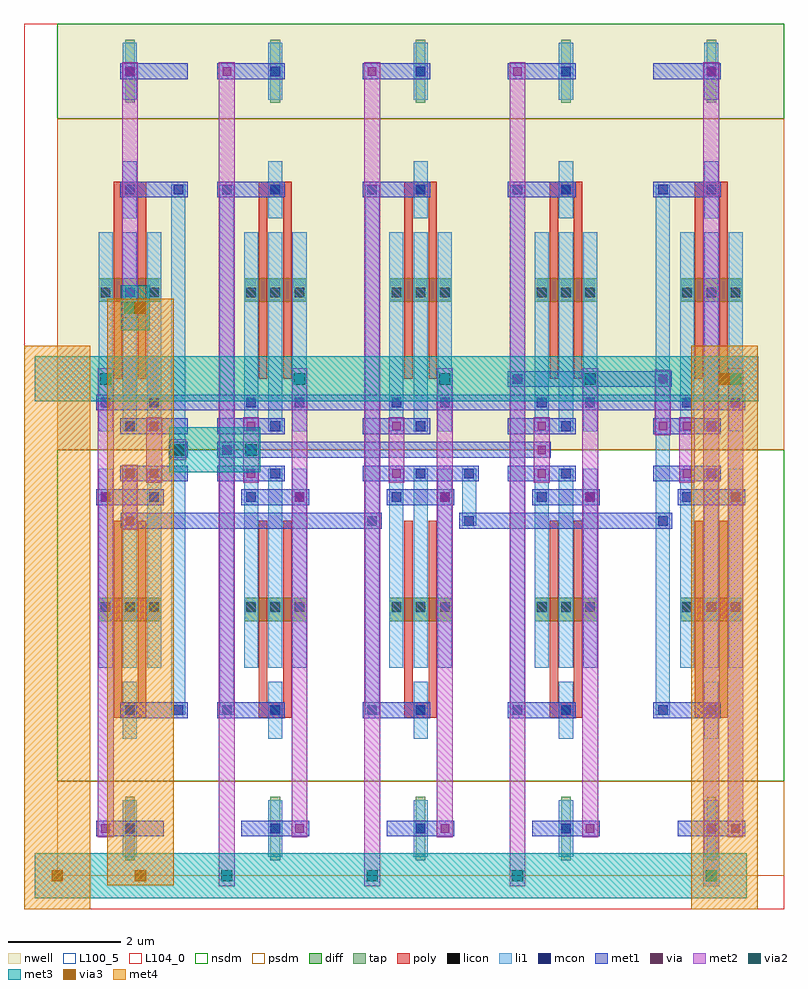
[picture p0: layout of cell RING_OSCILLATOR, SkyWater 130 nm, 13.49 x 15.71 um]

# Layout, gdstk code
import gdstk
lib = gdstk.Library(unit=1e-6, precision=1e-09)
def R(c, l, rs):  # rectangles x0, y0, x1, y1
    for r in rs: c.add(gdstk.rectangle(r[:2], r[2:], *l))
def A(c, l, x, y, w, h, nx, ny, dx, dy):  # array of equal rectangles
    R(c, l, [(x+i*dx, y+j*dy, x+i*dx+w, y+j*dy+h) for i in range(nx) for j in range(ny)])
nwell = (64, 20)
diff = (65, 20)
tap = (65, 44)
poly = (66, 20)
licon = (66, 44)
li1 = (67, 20)
mcon = (67, 44)
met1 = (68, 20)
via = (68, 44)
met2 = (69, 20)
via2 = (69, 44)
met3 = (70, 20)
via3 = (70, 44)
met4 = (71, 20)
nsdm = (93, 44)
psdm = (94, 20)
L100_5 = (100, 5)
L104_0 = (104, 0)

ring_oscillator = lib.new_cell('RING_OSCILLATOR')
A(ring_oscillator, nwell, 0, 7.56, 2.58, 7.56, 5, 1, 2.58, 0)
A(ring_oscillator, diff, 0.735, 4.515, 1.11, 0.42, 5, 2, 2.58, 5.67)
A(ring_oscillator, tap, 1.205, 0.28, 0.17, 1.12, 5, 2, 2.58, 13.44)
A(ring_oscillator, poly, 1, 2.805, 0.58, 0.27, 5, 2, 2.58, 9.24)
R(ring_oscillator, poly, [(1,2.94,1.15,6.3), (1.43,2.94,1.58,6.3), (3.58,2.94,3.73,6.3), (4.01,2.94,4.16,6.3), (6.16,2.94,6.31,6.3), (6.59,2.94,6.74,6.3), (8.74,2.94,8.89,6.3), (9.17,2.94,9.32,6.3), (11.32,2.94,11.47,6.3), (11.75,2.94,11.9,6.3), (1,8.82,1.15,12.18), (1.43,8.82,1.58,12.18), (3.58,8.82,3.73,12.18), (4.01,8.82,4.16,12.18), (6.16,8.82,6.31,12.18), (6.59,8.82,6.74,12.18), (8.74,8.82,8.89,12.18), (9.17,8.82,9.32,12.18), (11.32,8.82,11.47,12.18), (11.75,8.82,11.9,12.18)])
A(ring_oscillator, licon, 1.205, 0.755, 0.17, 0.17, 5, 2, 2.58, 2.1)
A(ring_oscillator, licon, 0.775, 4.685, 0.17, 0.17, 3, 2, 0.43, 5.58)
A(ring_oscillator, licon, 3.355, 4.685, 0.17, 0.17, 3, 2, 0.43, 5.58)
A(ring_oscillator, licon, 5.935, 4.685, 0.17, 0.17, 3, 2, 0.43, 5.58)
A(ring_oscillator, licon, 8.515, 4.685, 0.17, 0.17, 3, 2, 0.43, 5.58)
A(ring_oscillator, licon, 11.095, 4.685, 0.17, 0.17, 3, 2, 0.43, 5.58)
A(ring_oscillator, licon, 1.205, 12.095, 0.17, 0.17, 5, 2, 2.58, 2.1)
A(ring_oscillator, li1, 1.165, 0.335, 0.25, 1.01, 5, 2, 2.58, 2.1)
A(ring_oscillator, li1, 2.885, 2.855, 0.25, 9.41, 4, 1, 2.58, 0)
A(ring_oscillator, li1, 0.735, 3.695, 0.25, 3.53, 3, 2, 0.43, 4.2)
A(ring_oscillator, li1, 3.315, 3.695, 0.25, 3.53, 3, 2, 0.43, 4.2)
A(ring_oscillator, li1, 5.895, 3.695, 0.25, 3.53, 3, 2, 0.43, 4.2)
A(ring_oscillator, li1, 8.475, 3.695, 0.25, 3.53, 3, 2, 0.43, 4.2)
A(ring_oscillator, li1, 11.055, 3.695, 0.25, 3.53, 3, 2, 0.43, 4.2)
A(ring_oscillator, li1, 1.165, 11.675, 0.25, 1.01, 5, 2, 2.58, 2.1)
R(ring_oscillator, li1, [(2.025,2.855,2.275,12.265), (7.185,6.215,7.435,7.225)])
A(ring_oscillator, mcon, 1.205, 0.755, 0.17, 0.17, 5, 2, 2.58, 7.14)
A(ring_oscillator, mcon, 1.205, 2.855, 0.17, 0.17, 4, 2, 0.86, 9.24)
A(ring_oscillator, mcon, 1.205, 7.055, 0.17, 0.17, 3, 1, 2.58, 0)
A(ring_oscillator, mcon, 1.205, 14.195, 0.17, 0.17, 5, 1, 2.58, 0)
R(ring_oscillator, mcon, [(5.505,2.855,5.675,3.025), (6.365,2.855,6.535,3.025), (8.085,2.855,8.255,3.025), (8.945,2.855,9.115,3.025), (10.665,2.855,10.835,3.025), (11.525,2.855,11.695,3.025), (5.505,6.215,5.675,6.385), (7.225,6.215,7.395,6.385), (10.665,6.215,10.835,6.385), (0.775,6.635,0.945,6.805), (1.635,6.635,1.805,6.805), (3.355,6.635,3.525,6.805), (4.215,6.635,4.385,6.805), (5.935,6.635,6.105,6.805), (6.795,6.635,6.965,6.805), (8.515,6.635,8.685,6.805), (9.375,6.635,9.545,6.805), (11.095,6.635,11.265,6.805), (11.955,6.635,12.125,6.805), (7.225,7.055,7.395,7.225), (8.945,7.055,9.115,7.225), (11.525,7.055,11.695,7.225), (2.065,7.475,2.235,7.645), (2.925,7.475,3.095,7.645), (0.775,8.315,0.945,8.485), (1.635,8.315,1.805,8.485), (3.355,8.315,3.525,8.485), (4.215,8.315,4.385,8.485), (5.935,8.315,6.105,8.485), (6.795,8.315,6.965,8.485), (8.515,8.315,8.685,8.485), (9.375,8.315,9.545,8.485), (11.095,8.315,11.265,8.485), (11.955,8.315,12.125,8.485), (8.085,8.735,8.255,8.905), (5.505,12.095,5.675,12.265), (6.365,12.095,6.535,12.265), (8.085,12.095,8.255,12.265), (8.945,12.095,9.115,12.265), (10.665,12.095,10.835,12.265), (11.525,12.095,11.695,12.265)])
A(ring_oscillator, met1, 0.69, 0.7, 1.2, 0.28, 5, 2, 2.58, 5.88)
A(ring_oscillator, met1, 2.84, 2.8, 1.2, 0.28, 4, 2, 2.58, 5.04)
A(ring_oscillator, met1, 2.84, 12.04, 1.2, 0.28, 4, 2, 2.58, 2.1)
R(ring_oscillator, met1, [(1.12,2.8,2.32,3.08), (1.13,6.16,5.76,6.44), (7.14,6.16,10.92,6.44), (1.12,7,2.32,7.28), (2.84,7,4.04,7.28), (5.42,7,7.48,7.28), (8,7,9.2,7.28), (10.58,7,11.78,7.28), (1.98,7.42,2.32,7.7), (2.84,7.42,8.76,7.7), (1.12,7.84,2.32,8.12), (0.69,8.26,12.21,8.54), (8,8.68,10.91,8.96), (1.12,12.04,2.32,12.32), (1.12,14.14,2.32,14.42)])
A(ring_oscillator, via, 4.225, 0.765, 0.15, 0.15, 4, 2, 2.58, 5.88)
A(ring_oscillator, via, 3.365, 7.065, 0.15, 0.15, 4, 1, 2.58, 0)
A(ring_oscillator, via, 3.365, 7.905, 0.15, 0.15, 3, 1, 2.58, 0)
A(ring_oscillator, via, 2.935, 14.205, 0.15, 0.15, 3, 1, 2.58, 0)
R(ring_oscillator, via, [(0.785,0.765,0.935,0.915), (1.215,6.225,1.365,6.375), (0.785,6.645,0.935,6.795), (1.215,7.065,1.365,7.215), (1.645,7.065,1.795,7.215), (2.075,7.485,2.225,7.635), (8.525,7.485,8.675,7.635), (1.645,7.905,1.795,8.055), (10.675,7.905,10.825,8.055), (11.105,7.905,11.255,8.055), (10.675,8.745,10.825,8.895), (1.215,14.205,1.365,14.355), (11.535,14.205,11.685,14.355)])
A(ring_oscillator, met2, 2.87, -0.185, 0.28, 14.625, 3, 1, 2.58, 0)
A(ring_oscillator, met2, 4.16, 0.68, 0.28, 8.325, 4, 1, 2.58, 0)
A(ring_oscillator, met2, 3.3, 6.98, 0.28, 1.16, 4, 1, 2.58, 0)
R(ring_oscillator, met2, [(11.47,-0.185,11.75,14.44), (0.72,0.68,1,9.005), (1.15,6.14,1.43,7.3), (1.58,6.98,1.86,8.14), (2.01,7.375,2.29,7.745), (10.61,7.82,10.89,8.98), (1.15,9.895,1.43,14.44)])
A(ring_oscillator, via2, 2.91, -0.1, 0.2, 0.2, 3, 1, 2.58, 0)
A(ring_oscillator, via2, 4.2, 8.72, 0.2, 0.2, 4, 1, 2.58, 0)
R(ring_oscillator, via2, [(11.51,-0.1,11.71,0.1), (2.05,7.46,2.25,7.66), (3.34,7.46,3.54,7.66), (0.76,8.72,0.96,8.92), (1.19,9.98,1.39,10.18)])
R(ring_oscillator, met3, [(-0.4,-0.4,12.24,0.4), (1.985,7.16,3.605,7.96), (-0.4,8.42,12.44,9.22), (1.125,9.68,1.645,10.48)])
R(ring_oscillator, via3, [(-0.1,-0.1,0.1,0.1), (1.38,-0.1,1.58,0.1), (11.74,8.72,11.94,8.92), (1.38,9.98,1.58,10.18)])
R(ring_oscillator, met4, [(-0.59,-0.59,0.59,9.41), (11.25,-0.59,12.43,9.41), (0.89,-0.165,2.07,10.245)])
A(ring_oscillator, nsdm, 0, 1.68, 2.58, 5.88, 5, 1, 2.58, 0)
A(ring_oscillator, nsdm, 0, 13.44, 2.58, 1.68, 5, 1, 2.58, 0)
A(ring_oscillator, psdm, 0, 0, 2.58, 1.68, 5, 1, 2.58, 0)
A(ring_oscillator, psdm, 0, 7.56, 2.58, 5.88, 5, 1, 2.58, 0)
R(ring_oscillator, L100_5, [(-0.59,-0.59,12.9,15.12)])
R(ring_oscillator, L104_0, [(-0.59,-0.59,12.9,15.12)])

lib.write_gds('RING_OSCILLATOR.gds')
